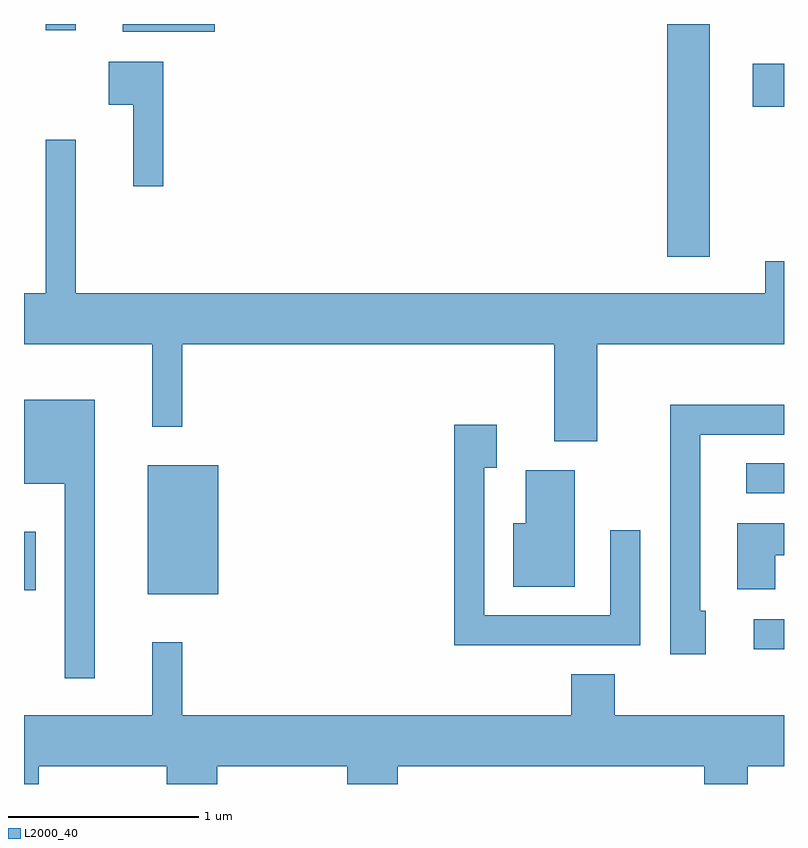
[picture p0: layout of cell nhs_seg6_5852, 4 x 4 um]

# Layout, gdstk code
import gdstk
lib = gdstk.Library(unit=1e-6, precision=1e-09)
def R(c, l, rs):  # rectangles x0, y0, x1, y1
    for r in rs: c.add(gdstk.rectangle(r[:2], r[2:], *l))
def P(c, l, *ps):  # polygons
    for p in ps: c.add(gdstk.Polygon(p, *l))
L2000_40 = (2000, 40)

nhs_seg6_5852 = lib.new_cell('nhs_seg6_5852')
R(nhs_seg6_5852, L2000_40, [(367.453,1552.871,367.611,1553.029), (364.261,1553.161,364.634,1553.839), (363.611,1553.181,363.674,1553.489), (367.413,1553.691,367.611,1553.849), (366.996,1554.936,367.219,1556.162), (367.446,1555.726,367.611,1555.954), (364.131,1556.121,364.614,1556.162), (363.726,1556.128,363.884,1556.162)])
P(nhs_seg6_5852, L2000_40, [(364.344,1555.964),(364.056,1555.964),(364.056,1555.736),(364.186,1555.736),(364.186,1555.308),(364.344,1555.308)],
  [(366.629,1554.476),(367.611,1554.476),(367.611,1554.914),(367.511,1554.914),(367.511,1554.744),(363.884,1554.744),(363.884,1555.553),(363.726,1555.553),(363.726,1554.744),(363.611,1554.744),(363.611,1554.476),(364.286,1554.476),(364.286,1554.043),(364.444,1554.043),(364.444,1554.476),(366.401,1554.476),(366.401,1553.966),(366.629,1553.966)],
  [(363.984,1554.184),(363.611,1554.184),(363.611,1553.741),(363.826,1553.741),(363.826,1552.718),(363.984,1552.718)],
  [(367.199,1553.074),(367.169,1553.074),(367.169,1554.001),(367.611,1554.001),(367.611,1554.159),(367.011,1554.159),(367.011,1552.846),(367.199,1552.846)],
  [(366.854,1553.498),(366.696,1553.498),(366.696,1553.049),(366.034,1553.049),(366.034,1553.826),(366.099,1553.826),(366.099,1554.054),(365.876,1554.054),(365.876,1552.891),(366.854,1552.891)],
  [(366.509,1553.814),(366.251,1553.814),(366.251,1553.534),(366.186,1553.534),(366.186,1553.201),(366.509,1553.201)],
  [(367.564,1553.366),(367.611,1553.366),(367.611,1553.534),(367.366,1553.534),(367.366,1553.186),(367.564,1553.186)],
  [(363.689,1552.256),(364.361,1552.256),(364.361,1552.162),(364.629,1552.162),(364.629,1552.256),(365.311,1552.256),(365.311,1552.162),(365.579,1552.162),(365.579,1552.256),(367.191,1552.256),(367.191,1552.162),(367.419,1552.162),(367.419,1552.256),(367.611,1552.256),(367.611,1552.524),(366.719,1552.524),(366.719,1552.739),(366.491,1552.739),(366.491,1552.524),(364.444,1552.524),(364.444,1552.908),(364.286,1552.908),(364.286,1552.524),(363.611,1552.524),(363.611,1552.162),(363.689,1552.162)])

lib.write_gds('nhs_seg6_5852.gds')
